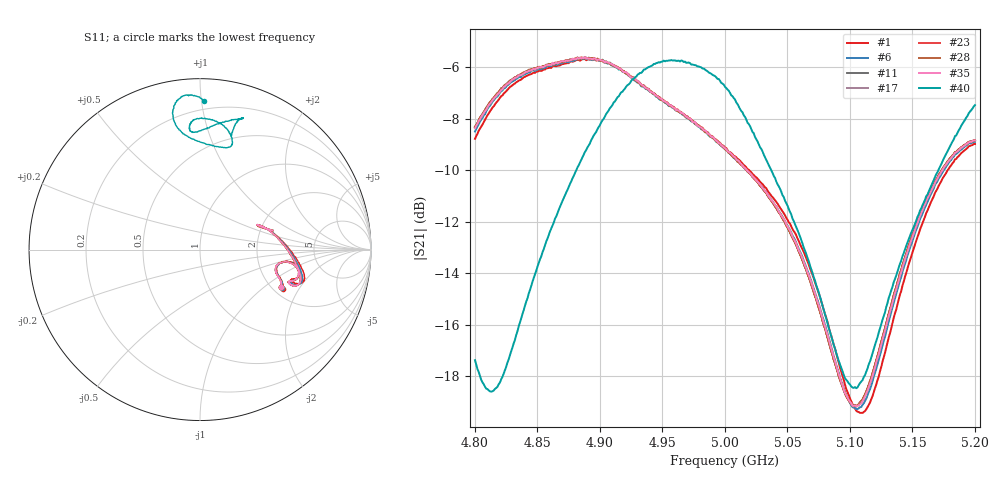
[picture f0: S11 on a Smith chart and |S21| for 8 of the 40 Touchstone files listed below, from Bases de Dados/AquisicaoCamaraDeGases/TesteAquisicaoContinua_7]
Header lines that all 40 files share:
! Network Analyzer HP8722D
! Hewlett-Packard
! Data name: Linha & Wilkinson
! Saver's name: Rodrigo Anjos
! Comments: Teste da utilização de aquisição
! continua pelo VNA HP8722D
!  Frequency  S11  S21  S12  S22
# HZ  S  MA R 50
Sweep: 4.8 GHz to 5.2 GHz
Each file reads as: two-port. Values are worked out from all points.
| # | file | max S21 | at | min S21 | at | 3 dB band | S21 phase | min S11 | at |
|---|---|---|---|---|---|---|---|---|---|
| 1 | teste_arseco&ACE_0-70_280.S2P | -5.68 dB | 4.886 GHz | -19.4 dB | 5.11 GHz | 4.801 GHz-4.989 GHz | 148 deg at 5 GHz | -8.8 dB | 5.172 GHz |
| 2 | teste_arseco&ACE_0-70_281.S2P | -5.69 dB | 4.887 GHz | -19.4 dB | 5.11 GHz | 4.802 GHz-4.989 GHz | 148 deg at 5 GHz | -8.8 dB | 5.172 GHz |
| 3 | teste_arseco&ACE_0-70_282.S2P | -5.67 dB | 4.888 GHz | -19.5 dB | 5.108 GHz | 4.802 GHz-4.988 GHz | 148 deg at 5 GHz | -8.8 dB | 5.167 GHz |
| 4 | teste_arseco&ACE_0-70_283.S2P | -5.67 dB | 4.887 GHz | -19.5 dB | 5.109 GHz | 4.802 GHz-4.989 GHz | 148 deg at 5 GHz | -8.8 dB | 5.167 GHz |
| 5 | teste_arseco&ACE_0-70_284.S2P | -5.69 dB | 4.887 GHz | -19.4 dB | 5.107 GHz | 4.8 GHz-4.988 GHz | 147 deg at 5 GHz | -8.8 dB | 5.167 GHz |
| 6 | teste_arseco&ACE_0-70_285.S2P | -5.66 dB | 4.889 GHz | -19.3 dB | 5.106 GHz | 4.8 GHz-4.987 GHz | 146 deg at 5 GHz | -8.7 dB | 5.167 GHz |
| 7 | teste_arseco&ACE_0-70_286.S2P | -5.65 dB | 4.887 GHz | -19.2 dB | 5.106 GHz | 4.8 GHz-4.986 GHz | 146 deg at 5 GHz | -8.8 dB | 5.167 GHz |
| 8 | teste_arseco&ACE_0-70_287.S2P | -5.66 dB | 4.885 GHz | -19.2 dB | 5.105 GHz | 4.8 GHz-4.988 GHz | 146 deg at 5 GHz | -8.8 dB | 5.167 GHz |
| 9 | teste_arseco&ACE_0-70_288.S2P | -5.64 dB | 4.885 GHz | -19.2 dB | 5.105 GHz | 4.8 GHz-4.987 GHz | 146 deg at 5 GHz | -8.8 dB | 5.167 GHz |
| 10 | teste_arseco&ACE_0-70_289.S2P | -5.63 dB | 4.882 GHz | -19.2 dB | 5.103 GHz | 4.8 GHz-4.987 GHz | 146 deg at 5 GHz | -8.8 dB | 5.167 GHz |
| 11 | teste_arseco&ACE_0-70_290.S2P | -5.63 dB | 4.888 GHz | -19.2 dB | 5.105 GHz | 4.8 GHz-4.987 GHz | 145 deg at 5 GHz | -8.8 dB | 5.167 GHz |
| 12 | teste_arseco&ACE_0-70_291.S2P | -5.64 dB | 4.886 GHz | -19.2 dB | 5.103 GHz | 4.8 GHz-4.987 GHz | 146 deg at 5 GHz | -8.8 dB | 5.167 GHz |
| 13 | teste_arseco&ACE_0-70_292.S2P | -5.61 dB | 4.887 GHz | -19.2 dB | 5.103 GHz | 4.8 GHz-4.987 GHz | 146 deg at 5 GHz | -8.8 dB | 5.168 GHz |
| 14 | teste_arseco&ACE_0-70_293.S2P | -5.63 dB | 4.888 GHz | -19.2 dB | 5.105 GHz | 4.8 GHz-4.987 GHz | 145 deg at 5 GHz | -8.8 dB | 5.167 GHz |
| 15 | teste_arseco&ACE_0-70_294.S2P | -5.62 dB | 4.887 GHz | -19.2 dB | 5.105 GHz | 4.8 GHz-4.986 GHz | 146 deg at 5 GHz | -8.8 dB | 5.167 GHz |
| 16 | teste_arseco&ACE_0-70_295.S2P | -5.63 dB | 4.882 GHz | -19.2 dB | 5.103 GHz | 4.8 GHz-4.987 GHz | 145 deg at 5 GHz | -8.8 dB | 5.167 GHz |
| 17 | teste_arseco&ACE_0-70_296.S2P | -5.62 dB | 4.888 GHz | -19.2 dB | 5.105 GHz | 4.8 GHz-4.987 GHz | 145 deg at 5 GHz | -8.8 dB | 5.167 GHz |
| 18 | teste_arseco&ACE_0-70_297.S2P | -5.64 dB | 4.887 GHz | -19.1 dB | 5.105 GHz | 4.8 GHz-4.987 GHz | 146 deg at 5 GHz | -8.8 dB | 5.167 GHz |
| 19 | teste_arseco&ACE_0-70_298.S2P | -5.63 dB | 4.884 GHz | -19.2 dB | 5.103 GHz | 4.8 GHz-4.987 GHz | 146 deg at 5 GHz | -8.8 dB | 5.167 GHz |
| 20 | teste_arseco&ACE_0-70_299.S2P | -5.63 dB | 4.888 GHz | -19.2 dB | 5.105 GHz | 4.8 GHz-4.987 GHz | 145 deg at 5 GHz | -8.8 dB | 5.167 GHz |
| 21 | teste_arseco&ACE_0-70_300.S2P | -5.62 dB | 4.888 GHz | -19.2 dB | 5.105 GHz | 4.8 GHz-4.986 GHz | 146 deg at 5 GHz | -8.8 dB | 5.167 GHz |
| 22 | teste_arseco&ACE_0-70_301.S2P | -5.61 dB | 4.888 GHz | -19.2 dB | 5.105 GHz | 4.8 GHz-4.986 GHz | 145 deg at 5 GHz | -8.8 dB | 5.167 GHz |
| 23 | teste_arseco&ACE_0-70_302.S2P | -5.62 dB | 4.885 GHz | -19.2 dB | 5.105 GHz | 4.8 GHz-4.987 GHz | 146 deg at 5 GHz | -8.8 dB | 5.167 GHz |
| 24 | teste_arseco&ACE_0-70_303.S2P | -5.62 dB | 4.888 GHz | -19.2 dB | 5.103 GHz | 4.8 GHz-4.987 GHz | 145 deg at 5 GHz | -8.8 dB | 5.167 GHz |
| 25 | teste_arseco&ACE_0-70_304.S2P | -5.64 dB | 4.887 GHz | -19.2 dB | 5.103 GHz | 4.8 GHz-4.987 GHz | 146 deg at 5 GHz | -8.8 dB | 5.167 GHz |
| 26 | teste_arseco&ACE_0-70_305.S2P | -5.63 dB | 4.887 GHz | -19.2 dB | 5.105 GHz | 4.8 GHz-4.987 GHz | 146 deg at 5 GHz | -8.8 dB | 5.167 GHz |
| 27 | teste_arseco&ACE_0-70_306.S2P | -5.63 dB | 4.888 GHz | -19.2 dB | 5.104 GHz | 4.8 GHz-4.987 GHz | 145 deg at 5 GHz | -8.8 dB | 5.168 GHz |
| 28 | teste_arseco&ACE_0-70_307.S2P | -5.63 dB | 4.882 GHz | -19.2 dB | 5.105 GHz | 4.8 GHz-4.987 GHz | 146 deg at 5 GHz | -8.8 dB | 5.167 GHz |
| 29 | teste_arseco&ACE_0-70_308.S2P | -5.64 dB | 4.882 GHz | -19.2 dB | 5.103 GHz | 4.8 GHz-4.987 GHz | 145 deg at 5 GHz | -8.8 dB | 5.167 GHz |
| 30 | teste_arseco&ACE_0-70_309.S2P | -5.64 dB | 4.887 GHz | -19.2 dB | 5.105 GHz | 4.8 GHz-4.987 GHz | 145 deg at 5 GHz | -8.8 dB | 5.167 GHz |
| 31 | teste_arseco&ACE_0-70_310.S2P | -5.61 dB | 4.888 GHz | -19.2 dB | 5.105 GHz | 4.8 GHz-4.986 GHz | 145 deg at 5 GHz | -8.8 dB | 5.167 GHz |
| 32 | teste_arseco&ACE_0-70_311.S2P | -5.63 dB | 4.885 GHz | -19.2 dB | 5.103 GHz | 4.8 GHz-4.987 GHz | 145 deg at 5 GHz | -8.8 dB | 5.167 GHz |
| 33 | teste_arseco&ACE_0-70_312.S2P | -5.63 dB | 4.887 GHz | -19.2 dB | 5.105 GHz | 4.8 GHz-4.987 GHz | 146 deg at 5 GHz | -8.8 dB | 5.167 GHz |
| 34 | teste_arseco&ACE_0-70_313.S2P | -5.63 dB | 4.887 GHz | -19.2 dB | 5.103 GHz | 4.8 GHz-4.987 GHz | 145 deg at 5 GHz | -8.8 dB | 5.167 GHz |
| 35 | teste_arseco&ACE_0-70_314.S2P | -5.63 dB | 4.888 GHz | -19.2 dB | 5.106 GHz | 4.8 GHz-4.987 GHz | 146 deg at 5 GHz | -8.8 dB | 5.167 GHz |
| 36 | teste_arseco&ACE_0-70_315.S2P | -5.65 dB | 4.888 GHz | -19.3 dB | 5.105 GHz | 4.8 GHz-4.988 GHz | 146 deg at 5 GHz | -8.8 dB | 5.167 GHz |
| 37 | teste_arseco&ACE_0-70_316.S2P | -5.64 dB | 4.888 GHz | -19.3 dB | 5.107 GHz | 4.8 GHz-4.987 GHz | 147 deg at 5 GHz | -8.8 dB | 5.167 GHz |
| 38 | teste_arseco&ACE_0-70_317.S2P | -5.87 dB | 4.829 GHz | -19.5 dB | 4.961 GHz | 5.042 GHz-5.169 GHz | -109 deg at 5 GHz | -4.4 dB | 4.834 GHz |
| 39 | teste_arseco&ACE_0-70_318.S2P | -5.88 dB | 4.828 GHz | -19.5 dB | 4.962 GHz | 5.042 GHz-5.17 GHz | -109 deg at 5 GHz | -4.4 dB | 4.827 GHz |
| 40 | teste_arseco&ACE_0-70_319.S2P | -5.73 dB | 4.957 GHz | -18.6 dB | 4.813 GHz | 4.895 GHz-5.024 GHz | -56 deg at 5 GHz | -4.3 dB | 4.912 GHz |
